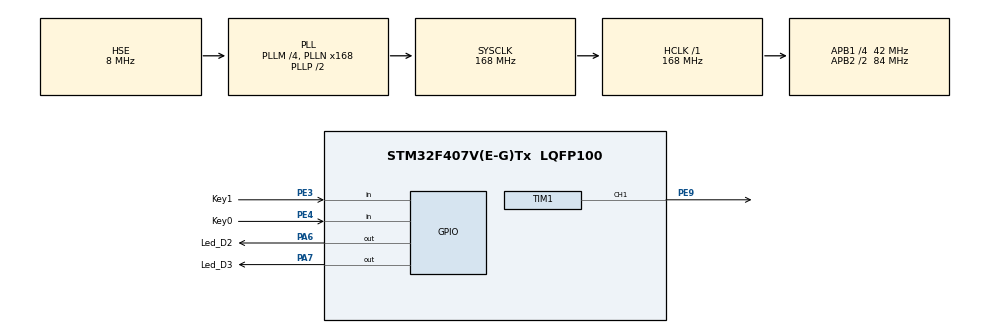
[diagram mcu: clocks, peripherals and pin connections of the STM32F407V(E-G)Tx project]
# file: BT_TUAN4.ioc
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Mcu.Family=STM32F4
Mcu.Name=STM32F407V(E-G)Tx
Mcu.Package=LQFP100
NVIC.PriorityGroup=NVIC_PRIORITYGROUP_4
PA13.Mode=Serial_Wire
PA13.Signal=SYS_JTMS-SWDIO
PA14.Mode=Serial_Wire
PA14.Signal=SYS_JTCK-SWCLK
PA6.GPIO_Label=Led_D2
PA6.PinState=GPIO_PIN_SET
PA6.Signal=GPIO_Output
PA7.GPIO_Label=Led_D3
PA7.PinState=GPIO_PIN_SET
PA7.Signal=GPIO_Output
PC14-OSC32_IN.Mode=LSE-External-Oscillator
PC14-OSC32_IN.Signal=RCC_OSC32_IN
PC15-OSC32_OUT.Mode=LSE-External-Oscillator
PC15-OSC32_OUT.Signal=RCC_OSC32_OUT
PE3.GPIO_Label=Key1
PE3.GPIO_PuPd=GPIO_PULLUP
PE3.Signal=GPIO_Input
PE4.GPIO_Label=Key0
PE4.GPIO_PuPd=GPIO_PULLUP
PE4.Signal=GPIO_Input
PE9.Signal=S_TIM1_CH1
PH0-OSC_IN.Mode=HSE-External-Oscillator
PH0-OSC_IN.Signal=RCC_OSC_IN
PH1-OSC_OUT.Mode=HSE-External-Oscillator
PH1-OSC_OUT.Signal=RCC_OSC_OUT
ProjectManager.HeapSize=0x200
ProjectManager.StackSize=0x400
ProjectManager.TargetToolchain=MDK-ARM V5.32
RCC.48MHZClocksFreq_Value=84000000
RCC.AHBFreq_Value=168000000
RCC.APB1CLKDivider=RCC_HCLK_DIV4
RCC.APB1Freq_Value=42000000
RCC.APB1TimFreq_Value=84000000
RCC.APB2CLKDivider=RCC_HCLK_DIV2
RCC.APB2Freq_Value=84000000
RCC.APB2TimFreq_Value=168000000
RCC.CortexFreq_Value=168000000
RCC.HCLKFreq_Value=168000000
RCC.HSE_VALUE=8000000
RCC.HSI_VALUE=16000000
RCC.PLLM=4
RCC.PLLN=168
RCC.PLLSourceVirtual=RCC_PLLSOURCE_HSE
RCC.SYSCLKFreq_VALUE=168000000
RCC.SYSCLKSource=RCC_SYSCLKSOURCE_PLLCLK
RCC.VCOOutputFreq_Value=336000000
SH.S_TIM1_CH1.0=TIM1_CH1,PWM Generation1 CH1
TIM1.Channel-PWM\ Generation1\ CH1=TIM_CHANNEL_1
TIM1.Period=1000-1
TIM1.Pulse-PWM\ Generation1\ CH1=50
VP_IWDG_VS_IWDG.Mode=IWDG_Activate
VP_TIM1_VS_ClockSourceINT.Mode=Internal
VP_WWDG_VS_WWDG.Mode=WWDG_Activate
board=custom

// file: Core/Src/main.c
/* USER CODE BEGIN Header */
/**
  ******************************************************************************
  * @file           : main.c
  * @brief          : Main program body
  ******************************************************************************
  * @attention
  *
  * Copyright (c) 2023 STMicroelectronics.
  * All rights reserved.
  *
  * This software is licensed under terms that can be found in the LICENSE file
  * in the root directory of this software component.
  * If no LICENSE file comes with this software, it is provided AS-IS.
  *
  **************************************************************************y7
/* USER CODE END Header */
#include "main.h"
#include "iwdg.h"
#include "tim.h"
#include "wwdg.h"
#include "gpio.h"

/* USER CODE BEGIN Includes */
#include "stdio.h"
/* USER CODE END Includes */

/* USER CODE BEGIN PV */
		int st0,st1;
/* USER CODE END PV */

void SystemClock_Config(void);

int main(void)
{

  /* MCU Configuration--------------------------------------------------------*/

  /* Reset of all peripherals, Initializes the Flash interface and the Systick. */
  HAL_Init();

  /* USER CODE BEGIN Init */
//		st0 = HAL_GPIO_ReadPin(Key0_GPIO_Port,Key0_Pin);
//		st1 = HAL_GPIO_ReadPin(Key1_GPIO_Port,Key1_Pin);
  /* USER CODE END Init */

  /* Configure the system clock */
  SystemClock_Config();

  /* Initialize all configured peripherals */
  MX_GPIO_Init();
  MX_IWDG_Init();
  MX_TIM1_Init();
  MX_WWDG_Init();
  /* USER CODE BEGIN 2 */
		// HAL_TIM_PWM_Start (&htim1,TIM_CHANNEL_1);//khoi tao timer1
  /* USER CODE END 2 */

  /* Infinite loop */
  /* USER CODE BEGIN WHILE */
			//__HAL_TIM_SET_COMPARE(&htim1,TIM_CHANNEL_1,50);
		//	int var =100;
  while (1)
  {
    /* USER CODE END WHILE */

    /* USER CODE BEGIN 3 */

			st0 = HAL_GPIO_ReadPin(Key0_GPIO_Port,Key0_Pin);
			st1 = HAL_GPIO_ReadPin(Key1_GPIO_Port,Key1_Pin);
		printf("gia tri key0 la: %d \n", st0  );

//code nut nhan Key_0
			if(st0==0)
			{

				HAL_Delay(20);
				if(st0==0)
					{
//								HAL_Delay(50);
//								var=var+100;
//								if (var >1000)
//									{
//										var=100;
//									}
//								__HAL_TIM_SET_COMPARE(&htim1,TIM_CHANNEL_1,var);
								HAL_GPIO_WritePin(Led_D2_GPIO_Port,Led_D2_Pin,GPIO_PIN_RESET);
								HAL_GPIO_WritePin(Led_D3_GPIO_Port,Led_D3_Pin,GPIO_PIN_SET);
								HAL_Delay(500); //
								HAL_GPIO_WritePin(Led_D2_GPIO_Port,Led_D2_Pin,GPIO_PIN_SET);
								HAL_GPIO_WritePin(Led_D3_GPIO_Port,Led_D3_Pin,GPIO_PIN_RESET);
								HAL_Delay(500);
					}

			}

//code nut nhan Key_1
			if(st1==0)
			{
				HAL_Delay(20);
				if(st1==0)
					{
//						HAL_Delay (20);
//						var=1000-var;
//						if(var==0)
//								{
//									var=1000;
//								}
//						__HAL_TIM_SET_COMPARE(&htim1,TIM_CHANNEL_1,var);
						for(int i=0;i<=4;i++)
							{
								HAL_GPIO_WritePin(Led_D2_GPIO_Port,Led_D2_Pin,GPIO_PIN_RESET);
								HAL_Delay(200);
								HAL_GPIO_WritePin(Led_D2_GPIO_Port,Led_D2_Pin,GPIO_PIN_SET);
								HAL_Delay(200);
							}
						for(int a=0;a<=4;a++)
							{
								HAL_GPIO_WritePin(Led_D3_GPIO_Port,Led_D3_Pin,GPIO_PIN_RESET);
								HAL_Delay(200);
								HAL_GPIO_WritePin(Led_D3_GPIO_Port,Led_D3_Pin,GPIO_PIN_SET);
								HAL_Delay(200);
							}
					}
			}

  }
  /* USER CODE END 3 */
}

void SystemClock_Config(void)
{
  RCC_OscInitTypeDef RCC_OscInitStruct = {0};
  RCC_ClkInitTypeDef RCC_ClkInitStruct = {0};

  /** Configure the main internal regulator output voltage
  */
  __HAL_RCC_PWR_CLK_ENABLE();
  __HAL_PWR_VOLTAGESCALING_CONFIG(PWR_REGULATOR_VOLTAGE_SCALE1);

  /** Initializes the RCC Oscillators according to the specified parameters
  * in the RCC_OscInitTypeDef structure.
  */
  RCC_OscInitStruct.OscillatorType = RCC_OSCILLATORTYPE_LSI|RCC_OSCILLATORTYPE_HSE;
  RCC_OscInitStruct.HSEState = RCC_HSE_ON;
  RCC_OscInitStruct.LSIState = RCC_LSI_ON;
  RCC_OscInitStruct.PLL.PLLState = RCC_PLL_ON;
  RCC_OscInitStruct.PLL.PLLSource = RCC_PLLSOURCE_HSE;
  RCC_OscInitStruct.PLL.PLLM = 4;
  RCC_OscInitStruct.PLL.PLLN = 168;
  RCC_OscInitStruct.PLL.PLLP = RCC_PLLP_DIV2;
  RCC_OscInitStruct.PLL.PLLQ = 4;
  if (HAL_RCC_OscConfig(&RCC_OscInitStruct) != HAL_OK)
  {
    Error_Handler();
  }

  /** Initializes the CPU, AHB and APB buses clocks
  */
  RCC_ClkInitStruct.ClockType = RCC_CLOCKTYPE_HCLK|RCC_CLOCKTYPE_SYSCLK
                              |RCC_CLOCKTYPE_PCLK1|RCC_CLOCKTYPE_PCLK2;
  RCC_ClkInitStruct.SYSCLKSource = RCC_SYSCLKSOURCE_PLLCLK;
  RCC_ClkInitStruct.AHBCLKDivider = RCC_SYSCLK_DIV1;
  RCC_ClkInitStruct.APB1CLKDivider = RCC_HCLK_DIV4;
  RCC_ClkInitStruct.APB2CLKDivider = RCC_HCLK_DIV2;

  if (HAL_RCC_ClockConfig(&RCC_ClkInitStruct, FLASH_LATENCY_5) != HAL_OK)
  {
    Error_Handler();
  }
}

void Error_Handler(void)
{
  __disable_irq();
  while (1)
  {
  }
}
